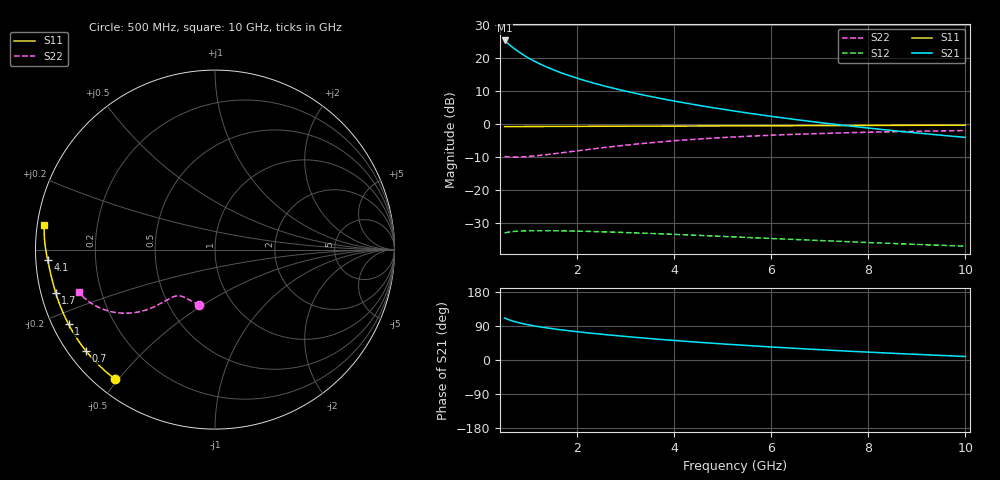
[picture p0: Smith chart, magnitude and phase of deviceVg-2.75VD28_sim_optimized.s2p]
! Created with skrf 1.8.0 (http://scikit-rf.org).
# Hz S RI R 50.0
!freq ReS11 ImS11 ReS21 ImS21 ReS12 ImS12 ReS22 ImS22
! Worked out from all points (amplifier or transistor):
!   191 points, 500 MHz to 10 GHz, reference 50 ohm
!   highest |S21| = 25.4 dB at 500 MHz (marker M1)
!   |S21| within 3 dB of that: start of sweep to 745.9 MHz
!   unconditionally stable (mu >= 1): 8.057 GHz to end of sweep
!   at 2.05 GHz: K = 0.25, MSG = 23.1 dB, |S12| = -32.6 dB
!   at 5.25 GHz: K = 0.64, MSG = 19.1 dB, |S12| = -34.3 dB
!   at 10 GHz: K = 1.26, MAG = 13.5 dB, |S12| = -37.1 dB
!   S11 on the Smith chart (normalised r, x): 500 MHz: 0.06, -0.49; 700 MHz: 0.05, -0.35; 1 GHz: 0.05, -0.24; 1.7 GHz: 0.04, -0.13; 4.1 GHz: 0.03, -0.03; 10 GHz: 0.02, +0.07
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5e8  -0.5599 -0.7196  -6.584 17.4  0.0207 0.00813  -0.0872 -0.3079
5.5e8  -0.612 -0.6768  -5.326 16.36  0.0214 0.0073  -0.1062 -0.2988
6e8  -0.6542 -0.637  -4.308 15.39  0.0219 0.00653  -0.1219 -0.2908
6.5e8  -0.6887 -0.6002  -3.476 14.49  0.0224 0.00579  -0.1351 -0.2838
7e8  -0.7172 -0.5665  -2.79 13.67  0.0227 0.0051  -0.1463 -0.2778
7.5e8  -0.741 -0.5357  -2.219 12.91  0.023 0.00446  -0.1559 -0.2728
8.5e8  -0.7781 -0.4815  -1.335 11.59  0.0234 0.00327  -0.1718 -0.2653
1e9  -0.8161 -0.4159  -0.4401 9.989  0.0238 0.00173  -0.1902 -0.2591
1.15e9  -0.8413 -0.3641  0.1424 8.724  0.0239 0.000405  -0.2049 -0.2573
1.3e9  -0.8589 -0.3224  0.5375 7.705  0.0239 -0.000762  -0.2178 -0.2586
1.5e9  -0.8754 -0.278  0.8872 6.623  0.0238 -0.00213  -0.2335 -0.2634
1.7e9  -0.8869 -0.2427  1.112 5.766  0.0236 -0.00333  -0.2485 -0.2704
2.1e9  -0.902 -0.1896  1.356 4.495  0.0228 -0.00537  -0.2788 -0.2873
2.45e9  -0.9106 -0.1552  1.448 3.693  0.0221 -0.00685  -0.3062 -0.3026
2.8e9  -0.9171 -0.1277  1.48 3.076  0.0212 -0.0081  -0.3344 -0.3168
3.2e9  -0.9229 -0.1017  1.473 2.526  0.0201 -0.00929  -0.3674 -0.3305
3.7e9  -0.9288 -0.0746  1.428 1.999  0.0187 -0.0105  -0.409 -0.3434
4.1e9  -0.9327 -0.0557  1.376 1.669  0.0176 -0.0112  -0.4418 -0.3501
5.25e9  -0.9414 -0.00955  1.197 1.014  0.0146 -0.0125  -0.5301 -0.3533
6.85e9  -0.9487 0.0443  0.956 0.5125  0.0111 -0.0131  -0.6315 -0.3291
8.45e9  -0.9518 0.0923  0.7618 0.2472  0.00837 -0.0128  -0.7066 -0.2868
1e10  -0.9515 0.1354  0.618 0.1012  0.00643 -0.0123  -0.7587 -0.2387
